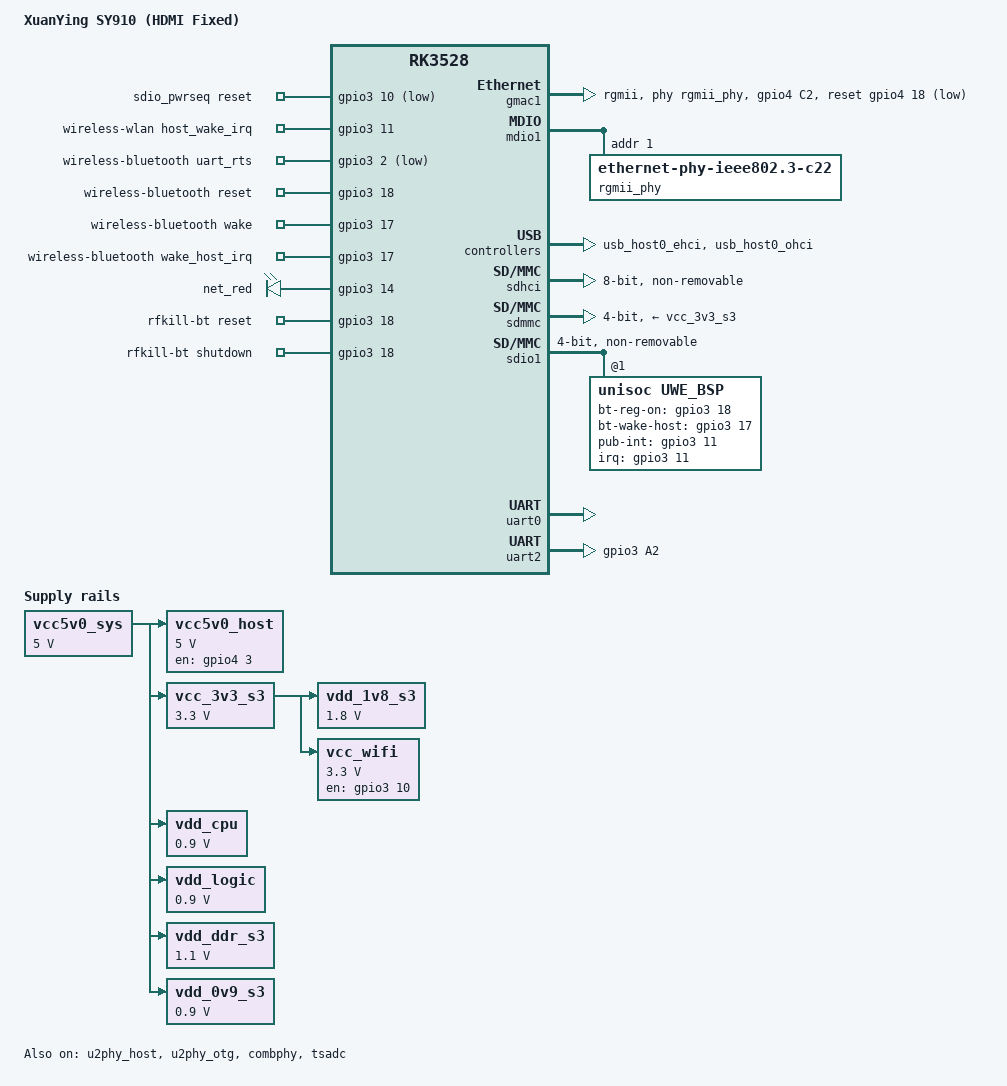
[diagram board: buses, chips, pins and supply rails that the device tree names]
// SPDX-License-Identifier: (GPL-2.0+ OR MIT)

/dts-v1/;

#include "rk3528.dtsi"

/ {
        model = "XuanYing SY910 (HDMI Fixed)";
        compatible = "xuanjing,sy910", "rockchip,rk3528";

        aliases {
                gpio0 = &gpio0;
                gpio1 = &gpio1;
                gpio2 = &gpio2;
                gpio3 = &gpio3;
                gpio4 = &gpio4;
                ethernet0 = &gmac1;
                mmc0 = &sdhci;
                mmc1 = &sdio1;
                mmc2 = &sdmmc;
                serial0 = &uart0;
                serial1 = &uart1;
                serial2 = &uart2;
                serial3 = &uart3;
                serial4 = &uart4;
                serial5 = &uart5;
                serial6 = &uart6;
                serial7 = &uart7;
                led-boot = &led_net_red;
                led-failsafe = &led_net_red;
                led-running = &led_net_red;
                led-upgrade = &led_net_red;
        };

        chosen {
                stdout-path = "serial0:1500000n8";
        };

        /* === Regulators === */

        vcc5v0_sys: vcc5v0-sys {
                compatible = "regulator-fixed";
                regulator-name = "vcc5v0_sys";
                regulator-always-on;
                regulator-boot-on;
                regulator-min-microvolt = <5000000>;
                regulator-max-microvolt = <5000000>;
        };

        vcc5v0_host: vcc5v0-host-regulator {
                compatible = "regulator-fixed";
                enable-active-high;
                gpio = <&gpio4 3 GPIO_ACTIVE_HIGH>;
                pinctrl-names = "default";
                pinctrl-0 = <&vcc5v0_host_en>;
                regulator-name = "vcc5v0_host";
                regulator-min-microvolt = <5000000>;
                regulator-max-microvolt = <5000000>;
                vin-supply = <&vcc5v0_sys>;
        };

        vcc_3v3_s3: vcc-3v3-s3 {
                compatible = "regulator-fixed";
                regulator-name = "vcc_3v3_s3";
                regulator-always-on;
                regulator-boot-on;
                regulator-min-microvolt = <3300000>;
                regulator-max-microvolt = <3300000>;
                vin-supply = <&vcc5v0_sys>;
        };

        vdd_1v8_s3: vdd-1v8-s3 {
                compatible = "regulator-fixed";
                regulator-name = "vdd_1v8_s3";
                regulator-always-on;
                regulator-boot-on;
                regulator-min-microvolt = <1800000>;
                regulator-max-microvolt = <1800000>;
                vin-supply = <&vcc_3v3_s3>;
        };

        vdd_cpu: vdd-cpu {
                compatible = "regulator-fixed";
                regulator-name = "vdd_cpu";
                regulator-always-on;
                regulator-boot-on;
                regulator-min-microvolt = <900000>;
                regulator-max-microvolt = <900000>;
                vin-supply = <&vcc5v0_sys>;
        };

        vdd_logic: vdd-logic {
                compatible = "regulator-fixed";
                regulator-name = "vdd_logic";
                regulator-always-on;
                regulator-boot-on;
                regulator-min-microvolt = <900000>;
                regulator-max-microvolt = <900000>;
                vin-supply = <&vcc5v0_sys>;
        };

        vdd_ddr_s3: vcc-ddr-s3 {
                compatible = "regulator-fixed";
                regulator-name = "vdd_ddr_s3";
                regulator-always-on;
                regulator-boot-on;
                regulator-min-microvolt = <1100000>;
                regulator-max-microvolt = <1100000>;
                vin-supply = <&vcc5v0_sys>;
        };

        vdd_0v9_s3: vdd-0v9-s3 {
                compatible = "regulator-fixed";
                regulator-name = "vdd_0v9_s3";
                regulator-always-on;
                regulator-boot-on;
                regulator-min-microvolt = <900000>;
                regulator-max-microvolt = <900000>;
                vin-supply = <&vcc5v0_sys>;
        };

        vcc_wifi: vcc-wifi {
                compatible = "regulator-fixed";
                regulator-name = "vcc_wifi";
                regulator-min-microvolt = <3300000>;
                regulator-max-microvolt = <3300000>;
                gpio = <&gpio3 10 GPIO_ACTIVE_HIGH>;
                enable-active-high;
                regulator-always-on;
                vin-supply = <&vcc_3v3_s3>;
        };

        /* === WiFi/BT === */

        sdio_pwrseq: sdio-pwrseq {
                compatible = "mmc-pwrseq-simple";
                pinctrl-names = "default";
                pinctrl-0 = <&wifi_enable_h>;
                post-power-on-delay-ms = <100>;
                power-off-delay-us = <5000000>;
                reset-gpios = <&gpio3 10 GPIO_ACTIVE_LOW>;
        };

        wireless-wlan {
                compatible = "wlan-platdata";
                wifi_chip_type = "UWE5621DS";
                WIFI,host_wake_irq = <&gpio3 11 GPIO_ACTIVE_HIGH>;
                status = "okay";
        };

        wireless-bluetooth {
                compatible = "bluetooth-platdata";
                uart_rts_gpios = <&gpio3 2 GPIO_ACTIVE_LOW>;
                BT,reset_gpio    = <&gpio3 18 GPIO_ACTIVE_HIGH>;
                BT,wake_gpio     = <&gpio3 17 GPIO_ACTIVE_HIGH>;
                BT,wake_host_irq = <&gpio3 17 GPIO_ACTIVE_HIGH>;
                status = "okay";
        };

        /* === GPIO LEDs === */

        leds: gpio-leds {
                compatible = "gpio-leds";
                pinctrl-names = "default";
                pinctrl-0 = <&led_net_red_pin>;

                led_net_red: led-net-red {
                        label = "net_red";
                        gpios = <&gpio3 14 GPIO_ACTIVE_HIGH>;
                        default-state = "on";
                };
        };

        /* === RFKILL for Bluetooth === */

        rfkill-bluetooth {
                compatible = "rfkill-gpio";
                label = "rfkill-bt";
                radio-type = "bluetooth";
                bluetooth-supply = <&vcc_3v3_s3>;
                reset-gpios = <&gpio3 18 GPIO_ACTIVE_HIGH>;
                shutdown-gpios = <&gpio3 18 GPIO_ACTIVE_HIGH>;
                status = "okay";
        };
};

/* === CPU / GPU === */



/* === Display === */






/* === Ethernet (GMAC1 only, GMAC0 disabled) === */

&gmac0 {
        status = "disabled";
};

&gmac1 {
        status = "okay";
        phy-mode = "rgmii";
        phy-handle = <&rgmii_phy>;
        clock_in_out = "input";
        pinctrl-names = "default";
        pinctrl-0 = <&gmac1_rstn_l>;
        snps,reset-gpio = <&gpio4 18 GPIO_ACTIVE_LOW>;
        snps,reset-active-low;
        snps,reset-delays-us = <0 20000 100000>;
        tx_delay = <0x30>;
        rx_delay = <0x10>;
};

&mdio1 {
        rgmii_phy: ethernet-phy@1 {
                compatible = "ethernet-phy-ieee802.3-c22";
                reg = <1>;
        };
};

/* === USB === */

&usb_host0_ehci {
        status = "okay";
};

&usb_host0_ohci {
        status = "okay";
};


&u2phy_host {
        phy-supply = <&vcc5v0_host>;
        status = "okay";
};



&u2phy_otg {
        phy-supply = <&vcc5v0_host>;
        status = "okay";
};

&combphy {
        status = "okay";
};

/* === PCIe === */


/* === eMMC / SD / SDIO === */

&sdhci {
        bus-width = <8>;
        max-frequency = <200000000>;
        mmc-hs200-1_8v;
        non-removable;
        status = "okay";
};

&sdmmc {
        max-frequency = <200000000>;
        no-sdio;
        no-mmc;
        bus-width = <4>;
        cap-mmc-highspeed;
        cap-sd-highspeed;
        disable-wp;
        pinctrl-names = "default";
        pinctrl-0 = <&sdmmc_clk &sdmmc_cmd &sdmmc_bus4 &sdmmc_det>;
        sd-uhs-sdr104;
        vmmc-supply = <&vcc_3v3_s3>;
        vqmmc-supply = <&vdd_1v8_s3>;
        status = "okay";
};

&sdio1 {
        bus-width = <4>;
        cap-sd-highspeed;
        cap-sdio-irq;
        keep-power-in-suspend;
        max-frequency = <200000000>;
        mmc-pwrseq = <&sdio_pwrseq>;
        non-removable;
        pinctrl-names = "default";
        pinctrl-0 = <&sdio1_bus4 &sdio1_clk &sdio1_cmd>;
        sd-uhs-sdr104;
        #address-cells = <1>;
        #size-cells = <0>;
        status = "okay";

        uwe_bsp: uwe-bsp@1 {
                compatible = "unisoc,uwe_bsp";
                reg = <1>;
                blksz-512;
                keep-power-on;
                data-irq;
                adma-rx;
                status = "okay";
                interrupt-parent = <&gpio3>;
                interrupts = <11 IRQ_TYPE_LEVEL_HIGH>;
                interrupt-names = "host-wake";
                pinctrl-names = "default";
                pinctrl-0 = <&wifi_host_wake_irq>;
                bt-reg-on = <&gpio3 18 GPIO_ACTIVE_HIGH>;
                bt-wake-host;
                bt-wake-host-gpio = <&gpio3 17 GPIO_ACTIVE_HIGH>;
                pub-int-gpio = <&gpio3 11 GPIO_ACTIVE_HIGH>;
                unisoc,btwf-file-name = "/lib/firmware/wcnmodem.bin";
                sdhci-name = <&sdio1>;
        };
};

/* === UART === */

&uart0 {
        status = "okay";
};

&uart2 {
        status = "okay";
        pinctrl-names = "default";
        pinctrl-0 = <&uart2m0_xfer &uart2m0_ctsn &uart2m0_rtsn_gpio>;
};

/* === Pinctrl === */

&pinctrl {

        usb {
                vcc5v0_host_en: vcc5v0-host-en {
                        rockchip,pins = <4 RK_PA3 RK_FUNC_GPIO &pcfg_pull_none>;
                };
        };

        gmac {
                gmac1_rstn_l: gmac1-rstn-l {
                        rockchip,pins = <4 RK_PC2 RK_FUNC_GPIO &pcfg_pull_none>;
                };
        };

        sdio-pwrseq {
                wifi_enable_h: wifi-enable-h {
                        rockchip,pins = <3 RK_PB2 RK_FUNC_GPIO &pcfg_pull_none>;
                };
        };

        wireless-wlan {
                wifi_host_wake_irq: wifi-host-wake-irq {
                        rockchip,pins = <3 RK_PB3 RK_FUNC_GPIO &pcfg_pull_none>;
                };
        };

        wireless-bluetooth {
                uart2m0_rtsn_gpio: uart2m0-rtsn-gpio {
                        rockchip,pins = <3 RK_PA2 RK_FUNC_GPIO &pcfg_pull_none>;
                };
        };

        bt {
                bt-reg-on-h {
                        rockchip,pins = <3 RK_PC2 RK_FUNC_GPIO &pcfg_pull_none>;
                };

                bt-wake-host-h {
                        rockchip,pins = <3 RK_PC1 RK_FUNC_GPIO &pcfg_pull_none>;
                };
        };

        leds {
                led_net_red_pin: led-net-red-pin {
                        rockchip,pins = <3 RK_PB6 RK_FUNC_GPIO &pcfg_pull_none>;
                };
        };
};

/* === Other === */



&tsadc {
        status = "okay";
};
